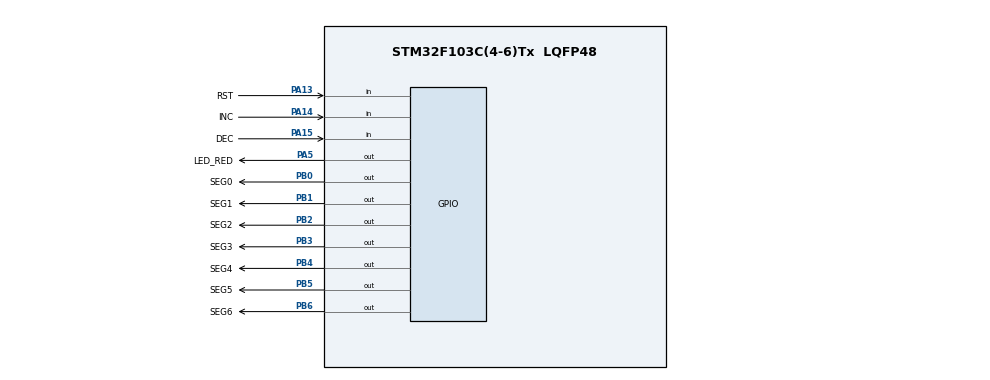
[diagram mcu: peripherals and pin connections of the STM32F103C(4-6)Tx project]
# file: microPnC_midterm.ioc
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Mcu.Family=STM32F1
Mcu.Name=STM32F103C(4-6)Tx
Mcu.Package=LQFP48
NVIC.PriorityGroup=NVIC_PRIORITYGROUP_4
NVIC.TIM2_IRQn=true\:0\:0\:false\:false\:true\:true\:true\:true
PA13.GPIO_Label=RST
PA13.GPIO_PuPd=GPIO_PULLUP
PA13.Signal=GPIO_Input
PA14.GPIO_Label=INC
PA14.GPIO_PuPd=GPIO_PULLUP
PA14.Signal=GPIO_Input
PA15.GPIO_Label=DEC
PA15.GPIO_PuPd=GPIO_PULLUP
PA15.Signal=GPIO_Input
PA5.GPIO_Label=LED_RED
PA5.Signal=GPIO_Output
PB0.GPIO_Label=SEG0
PB0.Signal=GPIO_Output
PB1.GPIO_Label=SEG1
PB1.Signal=GPIO_Output
PB2.GPIO_Label=SEG2
PB2.Signal=GPIO_Output
PB3.GPIO_Label=SEG3
PB3.Signal=GPIO_Output
PB4.GPIO_Label=SEG4
PB4.Signal=GPIO_Output
PB5.GPIO_Label=SEG5
PB5.Signal=GPIO_Output
PB6.GPIO_Label=SEG6
PB6.Signal=GPIO_Output
ProjectManager.HeapSize=0x200
ProjectManager.StackSize=0x400
ProjectManager.TargetToolchain=STM32CubeIDE
RCC.APB1Freq_Value=8000000
RCC.APB2Freq_Value=8000000
TIM2.Period=9
TIM2.Prescaler=7999
VP_TIM2_VS_ClockSourceINT.Mode=Internal
board=custom

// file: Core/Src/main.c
/* USER CODE BEGIN Header */
/**
  ******************************************************************************
  * @file           : main.c
  * @brief          : Main program body
  ******************************************************************************
  * @attention
  *
  * Copyright (c) 2022 STMicroelectronics.
  * All rights reserved.
  *
  * This software is licensed under terms that can be found in the LICENSE file
  * in the root directory of this software component.
  * If no LICENSE file comes with this software, it is provided AS-IS.
  *
  ******************************************************************************
  */
/* USER CODE END Header */
#include "main.h"
#include "tim.h"
#include "gpio.h"

/* USER CODE BEGIN Includes */
#include "stim_manip.h"
#include "component.h"
#include "7seg_manip.h"
#include "button_manip.h"
/* USER CODE END Includes */

void SystemClock_Config(void);

int main(void)
{

  /* MCU Configuration--------------------------------------------------------*/

  /* Reset of all peripherals, Initializes the Flash interface and the Systick. */
  HAL_Init();

  /* Configure the system clock */
  SystemClock_Config();

  /* Initialize all configured peripherals */
  MX_GPIO_Init();
  MX_TIM2_Init();
  /* USER CODE BEGIN 2 */
  HAL_TIM_Base_Start_IT(&htim2);

  Software_Timer_Init();
  SevenSEG_Init();
  FSM_Button_Init();
  /* USER CODE END 2 */

  /* Infinite loop */
  /* USER CODE BEGIN WHILE */
  while (1)
  {
	  if(standardTime->flag == 1){
		  standardTime->Set_Default(standardTime);
		  HAL_GPIO_TogglePin(LED_RED_GPIO_Port, LED_RED_Pin);
	  }
	  FSM_Simple_Run();
	  if (stim2->flag == 1){
		  stim2->Set_Default(stim2);
		  SevenSEG_Display();
	  }

    /* USER CODE END WHILE */

  }
}

void SystemClock_Config(void)
{
  RCC_OscInitTypeDef RCC_OscInitStruct = {0};
  RCC_ClkInitTypeDef RCC_ClkInitStruct = {0};

  /** Initializes the RCC Oscillators according to the specified parameters
  * in the RCC_OscInitTypeDef structure.
  */
  RCC_OscInitStruct.OscillatorType = RCC_OSCILLATORTYPE_HSI;
  RCC_OscInitStruct.HSIState = RCC_HSI_ON;
  RCC_OscInitStruct.HSICalibrationValue = RCC_HSICALIBRATION_DEFAULT;
  RCC_OscInitStruct.PLL.PLLState = RCC_PLL_NONE;
  if (HAL_RCC_OscConfig(&RCC_OscInitStruct) != HAL_OK)
  {
    Error_Handler();
  }

  /** Initializes the CPU, AHB and APB buses clocks
  */
  RCC_ClkInitStruct.ClockType = RCC_CLOCKTYPE_HCLK|RCC_CLOCKTYPE_SYSCLK
                              |RCC_CLOCKTYPE_PCLK1|RCC_CLOCKTYPE_PCLK2;
  RCC_ClkInitStruct.SYSCLKSource = RCC_SYSCLKSOURCE_HSI;
  RCC_ClkInitStruct.AHBCLKDivider = RCC_SYSCLK_DIV1;
  RCC_ClkInitStruct.APB1CLKDivider = RCC_HCLK_DIV1;
  RCC_ClkInitStruct.APB2CLKDivider = RCC_HCLK_DIV1;

  if (HAL_RCC_ClockConfig(&RCC_ClkInitStruct, FLASH_LATENCY_0) != HAL_OK)
  {
    Error_Handler();
  }
}

/* USER CODE BEGIN 4 */
void HAL_TIM_PeriodElapsedCallback(TIM_HandleTypeDef *htim){
	if (htim->Instance == TIM2){
		Software_Timer_Run();
		FSM_Button_Read();
	}
}
/* USER CODE END 4 */

void Error_Handler(void)
{
  __disable_irq();
  while (1)
  {
  }
}
